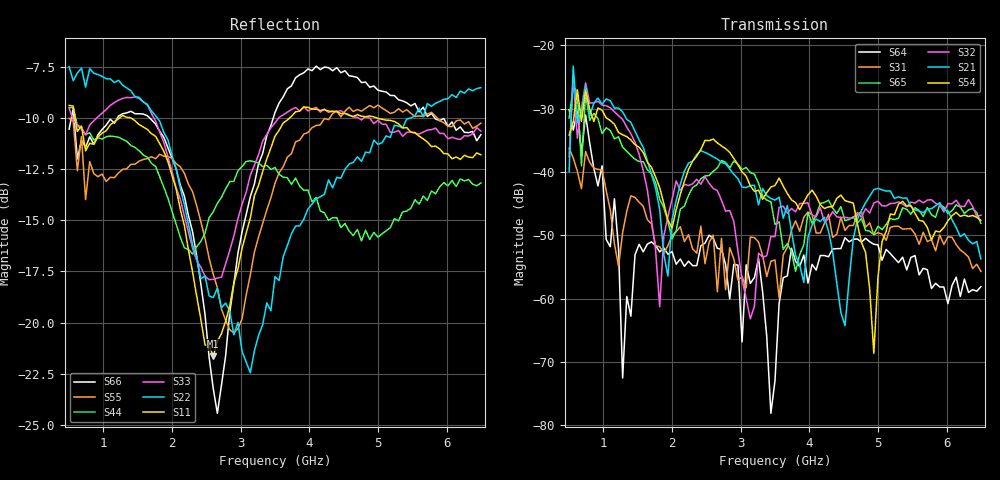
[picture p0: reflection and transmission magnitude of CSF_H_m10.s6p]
!Keysight Technologies,M9804A,MY58100912,A.14.10.03
!Date: Thursday, April 27, 2023 10:28:33
!Correction: S11(C  6-Port  )
!S12(C  6-Port  )
!S13(C  6-Port  )
!S14(C  6-Port  )
!S15(C  6-Port  )
!S16(C  6-Port  )
!S21(C  6-Port  )
!S22(C  6-Port  )
!S23(C  6-Port  )
!S24(C  6-Port  )
!S25(C  6-Port  )
!S26(C  6-Port  )
!S31(C  6-Port  )
!S32(C  6-Port  )
!S33(C  6-Port  )
!S34(C  6-Port  )
!S35(C  6-Port  )
!S36(C  6-Port  )
!S41(C  6-Port  )
!S42(C  6-Port  )
!S43(C  6-Port  )
!S44(C  6-Port  )
!S45(C  6-Port  )
!S46(C  6-Port  )
!S51(C  6-Port  )
!S52(C  6-Port  )
!S53(C  6-Port  )
!S54(C  6-Port  )
!S55(C  6-Port  )
!S56(C  6-Port  )
!S61(C  6-Port  )
!S62(C  6-Port  )
!S63(C  6-Port  )
!S64(C  6-Port  )
!S65(C  6-Port  )
!S66(C  6-Port  )
!S6P File: Measurement: :
# Hz S  RI  R 50
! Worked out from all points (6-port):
!   101 points, 500 MHz to 6.5 GHz, reference 50 ohm
!   strongest paths, dB at 500 MHz, 2 GHz, 3.5 GHz, 5 GHz, 6.5 GHz:
!     S54: -34.2, -48.9, -42.1, -56.7, -47.6
!     S21: -40.0, -47.5, -44.4, -42.6, -53.7
!     S32: -37.6, -44.3, -50.2, -44.6, -46.8
!     S65: -31.5, -50.6, -48.3, -48.6, -48.1
!     S31: -36.3, -50.1, -53.9, -49.6, -55.7
!     S64: -30.2, -52.6, -73.0, -51.5, -58.1
!   lowest |S11| = -21.7 dB at 2.6 GHz (marker M1), VSWR 1.18, Z = 42.6 + j1.97 ohm
!   |S11| at or under -10 dB: 587.5 MHz to 1.239 GHz (651.7 MHz wide, 71.4 % of centre); 1.386 GHz to 3.717 GHz (2.331 GHz wide, 91.4 % of centre); 4.971 GHz to end of sweep
